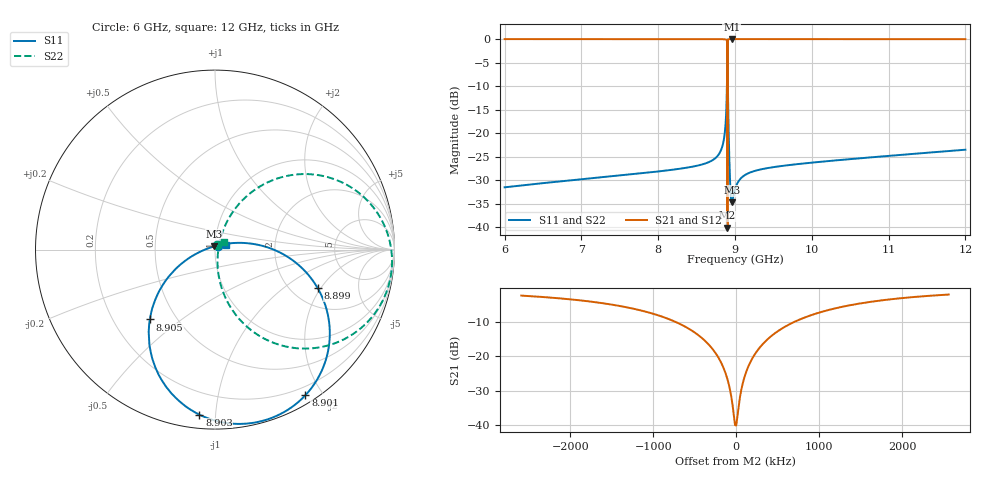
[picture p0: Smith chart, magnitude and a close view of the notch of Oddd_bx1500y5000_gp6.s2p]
! Sonnet Data File
! From: emgraph Version : 16.52
! From Emgraph Data: Resonator2
! Data File Written: 10/04/2017 19:40:02
!< HDATE 10/04/2017 18:31:41
!< MDATE 10/04/2017 18:32:09
!< PARAMS
!< gap = 6.0
!< Length = 400.0
!< END PARAMS
# GHZ S MA R 34.95000
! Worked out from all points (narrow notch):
!   1797 points, 6 GHz to 12 GHz, reference 34.95 ohm
!   highest |S21| = 0.00 dB at 8.958 GHz (marker M1); lowest = -40.0 dB at 8.902 GHz (marker M2)
!   notch at M2: 40.0 dB deep, 435 kHz wide at half that depth
!   lowest |S11| = -34.7 dB at 8.957 GHz (marker M3), VSWR 1.04, Z = 34.6 + j1.22 ohm
!   |S11| at or under -10 dB: start of sweep to 8.895 GHz; 8.908 GHz to end of sweep
!   |S22| runs from -34.7 to -0.1 dB; largest |S21 - S12| = 0
!   S11 on the Smith chart (normalised r, x): 6 GHz: 1.03, +0.05; 8.899 GHz: 2.73, -1.88; 8.901 GHz: 0.10, -1.79; 8.903 GHz: 0.07, -0.91; 8.905 GHz: 0.36, -0.39; 12 GHz: 1.13, +0.06
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6  0.02668 55.1  0.9996 -28.8  0.9996 -28.8  0.02668 67.3
!< P1 F=6.0 Eeff=(6.35492107 -2.8385e-5) Z0=(34.8782112 7.75473e-5) R=0.0 C=0.0
!< P2 F=6.0 Eeff=(6.35492107 -2.8385e-5) Z0=(34.8782112 7.75473e-5) R=0.0 C=0.0
7  0.03247 49.1  0.9996 -33.7  0.9996 -33.7  0.03251 63.5
8  0.0393 42.7  0.9992 -38.6  0.9992 -38.6  0.0393 60.0
8.793773  0.06065 30.6  0.9982 -43.5  0.9982 -43.5  0.06065 62.4
8.874612  0.1177 18.4  0.993 -47.2  0.993 -47.2  0.1177 67.1
8.892505  0.2552 5.3  0.9664 -55.4  0.9664 -55.4  0.2553 63.7
8.899185  0.6119 -20.6  0.7868 -78.4  0.7868 -78.4  0.6121 43.1
8.900643  0.8292 -40.0  0.5475 -96.7  0.5475 -96.7  0.8295 25.0
8.901497  0.9548 -58.1  0.2665 -113.3  0.2665 -113.3  0.9551 7.7
8.901833  0.9829 -66.7  0.1237 -119.3  0.1237 -119.3  0.9832 -0.5
8.902112  0.9904 -74.1  0.009952 -22.7  0.009952 -22.7  0.9907 -7.7
8.902438  0.9787 -82.8  0.1523 37.0  0.1523 37.0  0.9791 -16.1
8.902934  0.9237 -95.4  0.3602 26.8  0.3602 26.8  0.924 -28.2
8.905326  0.5321 -133.0  0.843 -8.6  0.843 -8.6  0.5324 -63.3
8.910975  0.2009 -157.4  0.979 -29.2  0.979 -29.2  0.201 -80.7
8.925475  0.05635 -179.8  0.9983 -37.7  0.9983 -37.7  0.05641 -75.5
8.956755  0.01843 107.0  0.9998 -40.9  0.9998 -40.9  0.01846 -8.8
8.958051  0.01844 104.1  0.9998 -41.0  0.9998 -41.0  0.01847 -6.0
9  0.02539 61.6  0.9997 -42.1  0.9997 -42.1  0.02539 34.2
10  0.04879 34.0  0.9988 -48.2  0.9988 -48.2  0.04879 49.6
11  0.05754 27.8  0.9983 -53.2  0.9983 -53.2  0.05756 45.9
12  0.0669 21.7  0.9978 -58.3  0.9978 -58.3  0.0669 41.7
